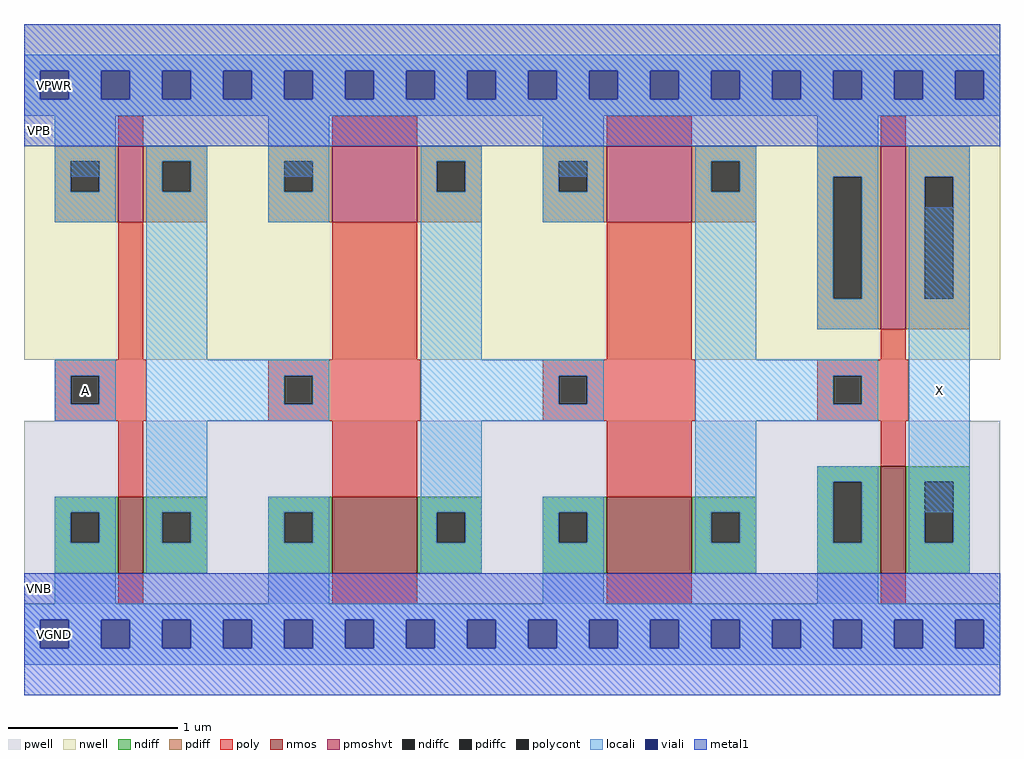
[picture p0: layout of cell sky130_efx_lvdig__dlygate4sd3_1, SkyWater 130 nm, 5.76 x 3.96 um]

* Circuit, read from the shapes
.subckt sky130_efx_lvdig__dlygate4sd3_1 A X VGND VPWR VPB VNB
XM1 n1 A VGND VNB sky130_fd_pr__nfet_01v8 w=0.45 l=0.15
XM2 n2 n1 VGND VNB sky130_fd_pr__nfet_01v8 w=0.45 l=0.5
XM3 n3 n2 VGND VNB sky130_fd_pr__nfet_01v8 w=0.45 l=0.5
XM4 X n3 VGND VNB sky130_fd_pr__nfet_01v8 w=0.63 l=0.15
XM5 n1 A VPWR VPB sky130_fd_pr__pfet_01v8_hvt w=0.45 l=0.15
XM6 n2 n1 VPWR VPB sky130_fd_pr__pfet_01v8_hvt w=0.45 l=0.5
XM7 n3 n2 VPWR VPB sky130_fd_pr__pfet_01v8_hvt w=0.45 l=0.5
XM8 X n3 VPWR VPB sky130_fd_pr__pfet_01v8_hvt w=1.08 l=0.15
.ends

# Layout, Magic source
magic
tech sky130A
magscale 1 2
<< nwell >>
rect 0 288 1152 684
<< pwell >>
rect 0 0 1152 216
<< poly >>
rect 36 269 144 288
rect 36 235 55 269
rect 89 235 144 269
rect 36 216 144 235
rect 288 269 468 288
rect 288 235 307 269
rect 341 235 468 269
rect 288 216 468 235
rect 612 269 792 288
rect 612 235 631 269
rect 665 235 792 269
rect 612 216 792 235
rect 936 269 1044 288
rect 936 235 955 269
rect 989 235 1044 269
rect 936 216 1044 235
<< polycont >>
rect 55 235 89 269
rect 307 235 341 269
rect 631 235 665 269
rect 955 235 989 269
<< locali >>
rect 0 629 1152 648
rect 0 595 19 629
rect 53 595 91 629
rect 125 595 163 629
rect 197 595 235 629
rect 269 595 307 629
rect 341 595 379 629
rect 413 595 451 629
rect 485 595 523 629
rect 557 595 595 629
rect 629 595 667 629
rect 701 595 739 629
rect 773 595 811 629
rect 845 595 883 629
rect 917 595 955 629
rect 989 595 1027 629
rect 1061 595 1099 629
rect 1133 595 1152 629
rect 0 576 1152 595
rect 36 504 108 576
rect 288 504 360 576
rect 612 504 684 576
rect 936 504 1008 576
rect 144 288 216 468
rect 468 288 540 468
rect 792 288 864 468
rect 36 269 108 288
rect 36 235 55 269
rect 89 235 108 269
rect 36 216 108 235
rect 144 269 360 288
rect 144 235 307 269
rect 341 235 360 269
rect 144 216 360 235
rect 468 269 684 288
rect 468 235 631 269
rect 665 235 684 269
rect 468 216 684 235
rect 792 269 1008 288
rect 792 235 955 269
rect 989 235 1008 269
rect 792 216 1008 235
rect 144 108 216 216
rect 468 108 540 216
rect 792 108 864 216
rect 1044 108 1116 468
rect 36 0 108 72
rect 288 0 360 72
rect 612 0 684 72
rect 936 0 1008 72
rect 0 -19 1152 0
rect 0 -53 19 -19
rect 53 -53 91 -19
rect 125 -53 163 -19
rect 197 -53 235 -19
rect 269 -53 307 -19
rect 341 -53 379 -19
rect 413 -53 451 -19
rect 485 -53 523 -19
rect 557 -53 595 -19
rect 629 -53 667 -19
rect 701 -53 739 -19
rect 773 -53 811 -19
rect 845 -53 883 -19
rect 917 -53 955 -19
rect 989 -53 1027 -19
rect 1061 -53 1099 -19
rect 1133 -53 1152 -19
rect 0 -72 1152 -53
<< viali >>
rect 19 595 53 629
rect 91 595 125 629
rect 163 595 197 629
rect 235 595 269 629
rect 307 595 341 629
rect 379 595 413 629
rect 451 595 485 629
rect 523 595 557 629
rect 595 595 629 629
rect 667 595 701 629
rect 739 595 773 629
rect 811 595 845 629
rect 883 595 917 629
rect 955 595 989 629
rect 1027 595 1061 629
rect 1099 595 1133 629
rect 19 -53 53 -19
rect 91 -53 125 -19
rect 163 -53 197 -19
rect 235 -53 269 -19
rect 307 -53 341 -19
rect 379 -53 413 -19
rect 451 -53 485 -19
rect 523 -53 557 -19
rect 595 -53 629 -19
rect 667 -53 701 -19
rect 739 -53 773 -19
rect 811 -53 845 -19
rect 883 -53 917 -19
rect 955 -53 989 -19
rect 1027 -53 1061 -19
rect 1099 -53 1133 -19
<< metal1 >>
rect 0 629 1152 684
rect 0 595 19 629
rect 53 595 91 629
rect 125 595 163 629
rect 197 595 235 629
rect 269 595 307 629
rect 341 595 379 629
rect 413 595 451 629
rect 485 595 523 629
rect 557 595 595 629
rect 629 595 667 629
rect 701 595 739 629
rect 773 595 811 629
rect 845 595 883 629
rect 917 595 955 629
rect 989 595 1027 629
rect 1061 595 1099 629
rect 1133 595 1152 629
rect 0 540 1152 595
rect 0 -19 1152 36
rect 0 -53 19 -19
rect 53 -53 91 -19
rect 125 -53 163 -19
rect 197 -53 235 -19
rect 269 -53 307 -19
rect 341 -53 379 -19
rect 413 -53 451 -19
rect 485 -53 523 -19
rect 557 -53 595 -19
rect 629 -53 667 -19
rect 701 -53 739 -19
rect 773 -53 811 -19
rect 845 -53 883 -19
rect 917 -53 955 -19
rect 989 -53 1027 -19
rect 1061 -53 1099 -19
rect 1133 -53 1152 -19
rect 0 -108 1152 -53
use nmos_n2f5_f1_l150_ff  nmos_n2f5_f1_l150_ff_0
transform 1 0 72 0 1 36
box -72 -36 180 180
use nmos_n2f5_f1_l500_ff  nmos_n2f5_f1_l500_ff_0
transform 1 0 324 0 1 36
box -72 -36 252 180
use nmos_n2f5_f1_l500_ff  nmos_n2f5_f1_l500_ff_1
transform 1 0 648 0 1 36
box -72 -36 252 180
use nmos_n3f5_f1_l150_ff  nmos_n3f5_f1_l150_ff_0
transform 1 0 972 0 1 36
box -72 -36 180 180
use pmos_n2f5_f1_l150_hvt_ff  pmos_n2f5_f1_l150_hvt_ff_0
transform 1 0 72 0 1 450
box -72 -162 180 126
use pmos_n2f5_f1_l500_hvt_ff  pmos_n2f5_f1_l500_hvt_ff_0
transform 1 0 324 0 1 450
box -72 -162 252 126
use pmos_n2f5_f1_l500_hvt_ff  pmos_n2f5_f1_l500_hvt_ff_1
transform 1 0 648 0 1 450
box -72 -162 252 126
use pmos_n6_f1_l150_hvt_ff  pmos_n6_f1_l150_hvt_ff_0
transform 1 0 972 0 1 324
box -72 -36 180 252
<< labels >>
flabel locali 36 216 108 288 0 FreeSans 288 0 0 0 A
port 1 nsew signal input
flabel locali 1044 216 1116 288 0 FreeSans 288 0 0 0 X
port 2 nsew signal output
flabel metal1 0 -72 72 0 0 FreeSans 288 0 0 0 VGND
port 3 nsew ground bidirectional
flabel metal1 0 576 72 648 0 FreeSans 288 0 0 0 VPWR
port 4 nsew power bidirectional
flabel nwell 0 540 36 576 0 FreeSans 288 0 0 0 VPB
port 5 nsew power bidirectional
flabel pwell 0 0 36 36 0 FreeSans 288 0 0 0 VNB
port 6 nsew ground bidirectional
<< properties >>
string FIXED_BBOX 0 -36 1152 612
<< end >>

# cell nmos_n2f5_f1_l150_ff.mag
magic
tech sky130A
magscale 1 2
<< pwell >>
rect -72 -36 180 180
<< nmos >>
rect 39 0 69 90
<< ndiff >>
rect -36 72 39 90
rect -36 36 -17 72
rect 17 36 39 72
rect -36 0 39 36
rect 69 72 144 90
rect 69 36 91 72
rect 125 36 144 72
rect 69 0 144 36
<< ndiffc >>
rect -17 36 17 72
rect 91 36 125 72
<< poly >>
rect 39 90 69 180
rect 39 -36 69 0
<< locali >>
rect -36 72 36 90
rect -36 36 -17 72
rect 17 36 36 72
rect -36 0 36 36
rect 72 72 144 90
rect 72 36 91 72
rect 125 36 144 72
rect 72 0 144 36
<< end >>

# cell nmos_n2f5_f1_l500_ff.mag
magic
tech sky130A
magscale 1 2
<< pwell >>
rect -72 -36 252 180
<< nmos >>
rect 40 0 140 90
<< ndiff >>
rect -36 72 40 90
rect -36 36 -17 72
rect 17 36 40 72
rect -36 0 40 36
rect 140 72 216 90
rect 140 36 163 72
rect 197 36 216 72
rect 140 0 216 36
<< ndiffc >>
rect -17 36 17 72
rect 163 36 197 72
<< poly >>
rect 40 90 140 180
rect 40 -36 140 0
<< locali >>
rect -36 72 36 90
rect -36 36 -17 72
rect 17 36 36 72
rect -36 0 36 36
rect 144 72 216 90
rect 144 36 163 72
rect 197 36 216 72
rect 144 0 216 36
<< end >>

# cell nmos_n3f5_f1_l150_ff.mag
magic
tech sky130A
magscale 1 2
<< pwell >>
rect -72 -36 180 180
<< nmos >>
rect 39 0 69 126
<< ndiff >>
rect -36 108 39 126
rect -36 36 -17 108
rect 17 36 39 108
rect -36 0 39 36
rect 69 108 144 126
rect 69 36 91 108
rect 125 36 144 108
rect 69 0 144 36
<< ndiffc >>
rect -17 36 17 108
rect 91 36 125 108
<< poly >>
rect 39 126 69 180
rect 39 -36 69 0
<< locali >>
rect -36 108 36 126
rect -36 36 -17 108
rect 17 36 36 108
rect -36 0 36 36
rect 72 108 144 126
rect 72 36 91 108
rect 125 36 144 108
rect 72 0 144 36
<< end >>

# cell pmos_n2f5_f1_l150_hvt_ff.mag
magic
tech sky130A
magscale 1 2
<< nwell >>
rect -72 -162 180 126
<< pmoshvt >>
rect 39 0 69 90
<< pdiff >>
rect -36 72 39 90
rect -36 36 -17 72
rect 17 36 39 72
rect -36 0 39 36
rect 69 72 144 90
rect 69 36 91 72
rect 125 36 144 72
rect 69 0 144 36
<< pdiffc >>
rect -17 36 17 72
rect 91 36 125 72
<< poly >>
rect 39 90 69 126
rect 39 -162 69 0
<< locali >>
rect -36 72 36 90
rect -36 36 -17 72
rect 17 36 36 72
rect -36 0 36 36
rect 72 72 144 90
rect 72 36 91 72
rect 125 36 144 72
rect 72 0 144 36
<< end >>

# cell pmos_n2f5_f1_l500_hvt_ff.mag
magic
tech sky130A
magscale 1 2
<< nwell >>
rect -72 -162 252 126
<< pmoshvt >>
rect 40 0 140 90
<< pdiff >>
rect -36 72 40 90
rect -36 36 -17 72
rect 17 36 40 72
rect -36 0 40 36
rect 140 72 216 90
rect 140 36 163 72
rect 197 36 216 72
rect 140 0 216 36
<< pdiffc >>
rect -17 36 17 72
rect 163 36 197 72
<< poly >>
rect 40 90 140 126
rect 40 -162 140 0
<< locali >>
rect -36 72 36 90
rect -36 36 -17 72
rect 17 36 36 72
rect -36 0 36 36
rect 144 72 216 90
rect 144 36 163 72
rect 197 36 216 72
rect 144 0 216 36
<< end >>

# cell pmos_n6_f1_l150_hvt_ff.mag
magic
tech sky130A
magscale 1 2
<< nwell >>
rect -72 -36 180 252
<< pmoshvt >>
rect 39 0 69 216
<< pdiff >>
rect -36 180 39 216
rect -36 36 -17 180
rect 17 36 39 180
rect -36 0 39 36
rect 69 180 144 216
rect 69 36 91 180
rect 125 36 144 180
rect 69 0 144 36
<< pdiffc >>
rect -17 36 17 180
rect 91 36 125 180
<< poly >>
rect 39 216 69 252
rect 39 -36 69 0
<< locali >>
rect -36 180 36 216
rect -36 36 -17 180
rect 17 36 36 180
rect -36 0 36 36
rect 72 180 144 216
rect 72 36 91 180
rect 125 36 144 180
rect 72 0 144 36
<< end >>
